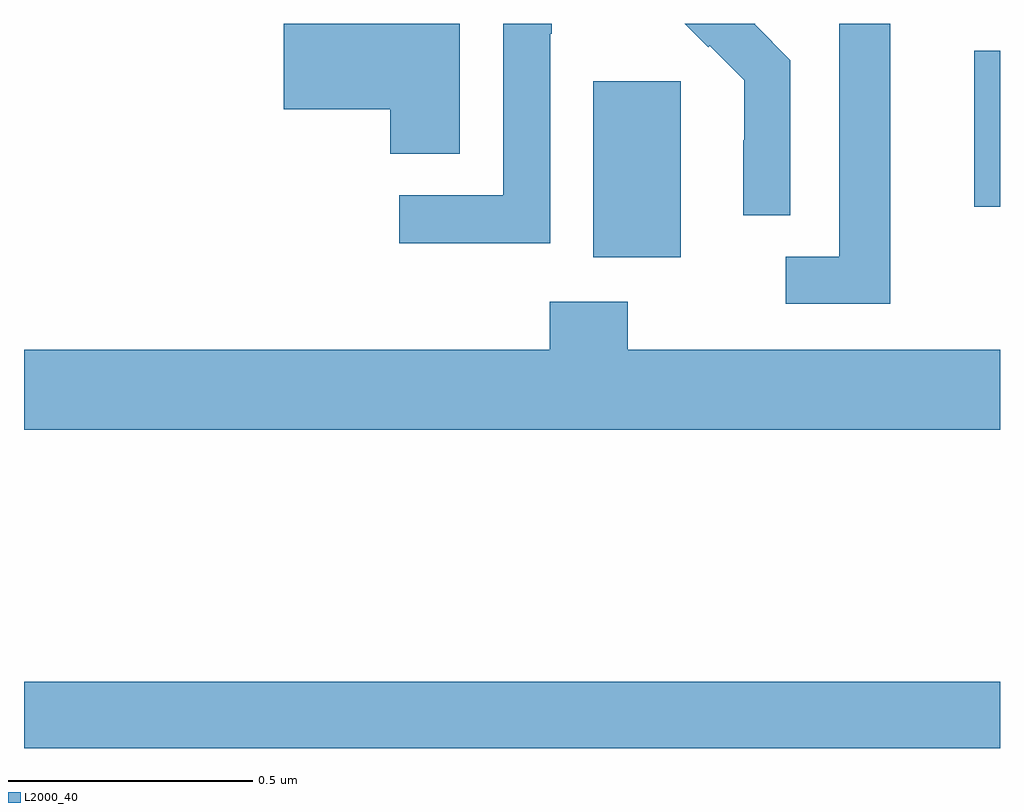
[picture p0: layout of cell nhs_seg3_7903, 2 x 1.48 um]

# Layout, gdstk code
import gdstk
lib = gdstk.Library(unit=1e-6, precision=1e-09)
def R(c, l, rs):  # rectangles x0, y0, x1, y1
    for r in rs: c.add(gdstk.rectangle(r[:2], r[2:], *l))
def P(c, l, *ps):  # polygons
    for p in ps: c.add(gdstk.Polygon(p, *l))
L2000_40 = (2000, 40)

nhs_seg3_7903 = lib.new_cell('nhs_seg3_7903')
R(nhs_seg3_7903, L2000_40, [(209,714.916,211,715.052), (210.167,715.922,210.346,716.283), (210.947,716.025,211,716.345)])
P(nhs_seg3_7903, L2000_40, [(210.775,716.4),(210.671,716.4),(210.671,715.923),(210.561,715.923),(210.561,715.827),(210.775,715.827)],
  [(210.078,716.38),(210.081,716.38),(210.081,716.4),(209.982,716.4),(209.982,716.049),(209.769,716.049),(209.769,715.951),(210.078,715.951)],
  [(210.57,716.326),(210.497,716.399),(210.498,716.4),(210.354,716.4),(210.402,716.352),(210.405,716.355),(210.476,716.285),(210.476,716.162),(210.474,716.162),(210.474,716.008),(210.57,716.008)],
  [(209.893,716.4),(209.532,716.4),(209.532,716.225),(209.75,716.225),(209.75,716.134),(209.893,716.134)],
  [(211,715.732),(210.237,715.732),(210.237,715.831),(210.077,715.831),(210.077,715.732),(209,715.732),(209,715.568),(211,715.568)])

lib.write_gds('nhs_seg3_7903.gds')
